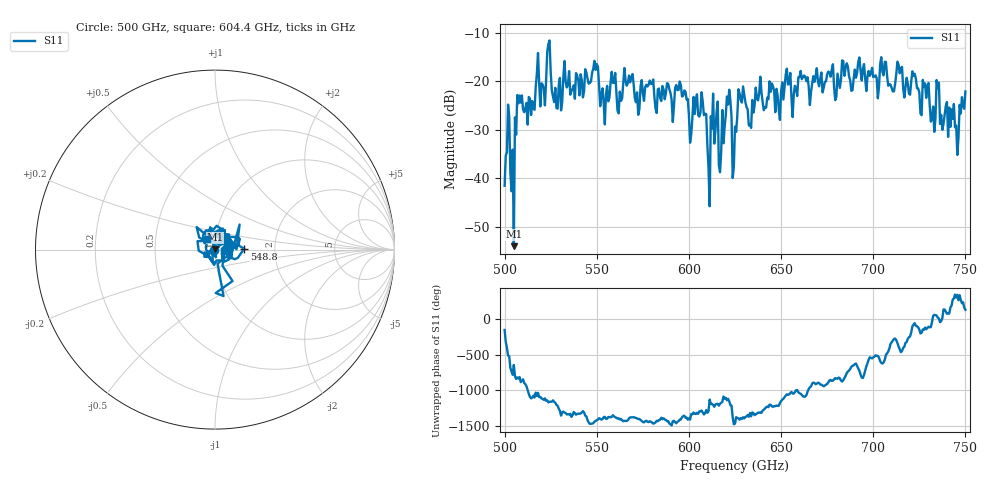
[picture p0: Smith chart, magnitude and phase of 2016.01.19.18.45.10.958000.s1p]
!Created with skrf (http://scikit-rf.org).
# GHz S RI R 50.0
!freq ReS11 ImS11
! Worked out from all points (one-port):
!   401 points, 500 GHz to 750 GHz, reference 50 ohm
!   lowest |S11| = -54.0 dB at 505 GHz (marker M1), VSWR 1.00, Z = 50.1 + j0.193 ohm
!   |S11| at or under -10 dB: start of sweep to end of sweep
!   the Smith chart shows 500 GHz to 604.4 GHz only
!   S11 on the Smith chart (normalised r, x): 500 GHz: 0.98, -0.01; 548.8 GHz: 1.39, +0.02; 604.4 GHz: 0.91, +0.11
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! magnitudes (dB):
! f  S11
! 500 GHz  -41.5
! 501.9 GHz  -24.8
! 505 GHz  -54.0
! 508.1 GHz  -22.9
! 520.6 GHz  -20.7
! 523.8 GHz  -12.3
! 527.5 GHz  -21.3
! 531.2 GHz  -24.2
! 548.8 GHz  -15.8
! 553.1 GHz  -21.5
! 558.8 GHz  -20.3
! 562.5 GHz  -22.1
! 566.2 GHz  -20.9
! 593.8 GHz  -21.8
! 604.4 GHz  -22.7
! 608.1 GHz  -27.0
! 611.2 GHz  -45.8
! 614.4 GHz  -30.2
! 617.5 GHz  -34.6
! 621.9 GHz  -21.7
! 625 GHz  -29.3
! 628.1 GHz  -23.9
! 632.5 GHz  -29.1
! 656.2 GHz  -27.4
! 687.5 GHz  -19.8
! 718.8 GHz  -20.5
! 745 GHz  -29.1
! 750 GHz  -22.1
